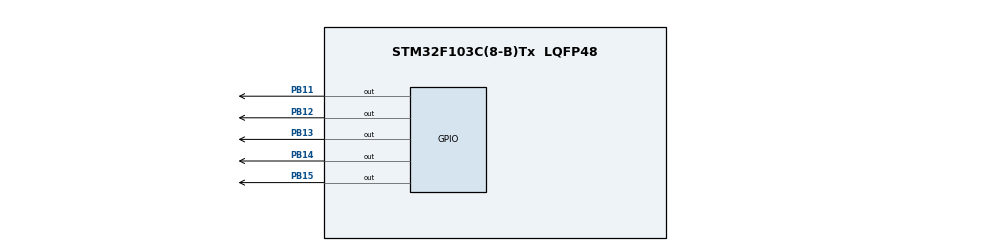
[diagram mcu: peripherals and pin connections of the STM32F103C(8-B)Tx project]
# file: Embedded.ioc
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Mcu.Family=STM32F1
Mcu.Name=STM32F103C(8-B)Tx
Mcu.Package=LQFP48
NVIC.PriorityGroup=NVIC_PRIORITYGROUP_4
PA13.Mode=Serial_Wire
PA13.Signal=SYS_JTMS-SWDIO
PA14.Mode=Serial_Wire
PA14.Signal=SYS_JTCK-SWCLK
PB11.Signal=GPIO_Output
PB12.Signal=GPIO_Output
PB13.Signal=GPIO_Output
PB14.Signal=GPIO_Output
PB15.Signal=GPIO_Output
ProjectManager.HeapSize=0x200
ProjectManager.StackSize=0x400
ProjectManager.TargetToolchain=CMake
RCC.APB1Freq_Value=8000000
RCC.APB2Freq_Value=8000000
board=custom

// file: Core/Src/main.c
/* USER CODE BEGIN Header */
/**
  ******************************************************************************
  * @file           : main.c
  * @brief          : Main program body
  ******************************************************************************
  * @attention
  *
  * Copyright (c) 2026 STMicroelectronics.
  * All rights reserved.
  *
  * This software is licensed under terms that can be found in the LICENSE file
  * in the root directory of this software component.
  * If no LICENSE file comes with this software, it is provided AS-IS.
  *
  ******************************************************************************
  */
/* USER CODE END Header */
#include "main.h"

void SystemClock_Config(void);
static void MX_GPIO_Init(void);

int main(void)
{

  /* MCU Configuration--------------------------------------------------------*/

  /* Reset of all peripherals, Initializes the Flash interface and the Systick. */
  HAL_Init();

  /* Configure the system clock */
  SystemClock_Config();

  /* Initialize all configured peripherals */
  MX_GPIO_Init();

  /* Infinite loop */
  /* USER CODE BEGIN WHILE */
  while (1)
  {

    HAL_GPIO_WritePin(GPIOB, GPIO_PIN_11, GPIO_PIN_SET);
    HAL_Delay(50);
    HAL_GPIO_WritePin(GPIOB, GPIO_PIN_11, GPIO_PIN_RESET);

    HAL_GPIO_WritePin(GPIOB, GPIO_PIN_12, GPIO_PIN_SET);
    HAL_Delay(50);
    HAL_GPIO_WritePin(GPIOB, GPIO_PIN_12, GPIO_PIN_RESET);

    HAL_GPIO_WritePin(GPIOB, GPIO_PIN_13, GPIO_PIN_SET);
    HAL_Delay(50);
    HAL_GPIO_WritePin(GPIOB, GPIO_PIN_13, GPIO_PIN_RESET);

    HAL_GPIO_WritePin(GPIOB, GPIO_PIN_14, GPIO_PIN_SET);
    HAL_Delay(50);
    HAL_GPIO_WritePin(GPIOB, GPIO_PIN_14, GPIO_PIN_RESET);

    HAL_GPIO_WritePin(GPIOB, GPIO_PIN_15, GPIO_PIN_SET);
    HAL_Delay(50);
    HAL_GPIO_WritePin(GPIOB, GPIO_PIN_15, GPIO_PIN_RESET);
    HAL_Delay(50);

    /* USER CODE END WHILE */

  }
}

void SystemClock_Config(void)
{
  RCC_OscInitTypeDef RCC_OscInitStruct = {0};
  RCC_ClkInitTypeDef RCC_ClkInitStruct = {0};

  /** Initializes the RCC Oscillators according to the specified parameters
  * in the RCC_OscInitTypeDef structure.
  */
  RCC_OscInitStruct.OscillatorType = RCC_OSCILLATORTYPE_HSI;
  RCC_OscInitStruct.HSIState = RCC_HSI_ON;
  RCC_OscInitStruct.HSICalibrationValue = RCC_HSICALIBRATION_DEFAULT;
  RCC_OscInitStruct.PLL.PLLState = RCC_PLL_NONE;
  if (HAL_RCC_OscConfig(&RCC_OscInitStruct) != HAL_OK)
  {
    Error_Handler();
  }

  /** Initializes the CPU, AHB and APB buses clocks
  */
  RCC_ClkInitStruct.ClockType = RCC_CLOCKTYPE_HCLK|RCC_CLOCKTYPE_SYSCLK
                              |RCC_CLOCKTYPE_PCLK1|RCC_CLOCKTYPE_PCLK2;
  RCC_ClkInitStruct.SYSCLKSource = RCC_SYSCLKSOURCE_HSI;
  RCC_ClkInitStruct.AHBCLKDivider = RCC_SYSCLK_DIV1;
  RCC_ClkInitStruct.APB1CLKDivider = RCC_HCLK_DIV1;
  RCC_ClkInitStruct.APB2CLKDivider = RCC_HCLK_DIV1;

  if (HAL_RCC_ClockConfig(&RCC_ClkInitStruct, FLASH_LATENCY_0) != HAL_OK)
  {
    Error_Handler();
  }
}

static void MX_GPIO_Init(void)
{
  GPIO_InitTypeDef GPIO_InitStruct = {0};

  /* GPIO Ports Clock Enable */
  __HAL_RCC_GPIOB_CLK_ENABLE();
  __HAL_RCC_GPIOA_CLK_ENABLE();

  /*Configure GPIO pin Output Level */
  HAL_GPIO_WritePin(GPIOB, GPIO_PIN_11|GPIO_PIN_12|GPIO_PIN_13|GPIO_PIN_14
                          |GPIO_PIN_15, GPIO_PIN_RESET);

  /*Configure GPIO pins : PB11 PB12 PB13 PB14
                           PB15 */
  GPIO_InitStruct.Pin = GPIO_PIN_11|GPIO_PIN_12|GPIO_PIN_13|GPIO_PIN_14
                          |GPIO_PIN_15;
  GPIO_InitStruct.Mode = GPIO_MODE_OUTPUT_PP;
  GPIO_InitStruct.Pull = GPIO_NOPULL;
  GPIO_InitStruct.Speed = GPIO_SPEED_FREQ_LOW;
  HAL_GPIO_Init(GPIOB, &GPIO_InitStruct);

}

void Error_Handler(void)
{
  __disable_irq();
  while (1)
  {
  }
}
